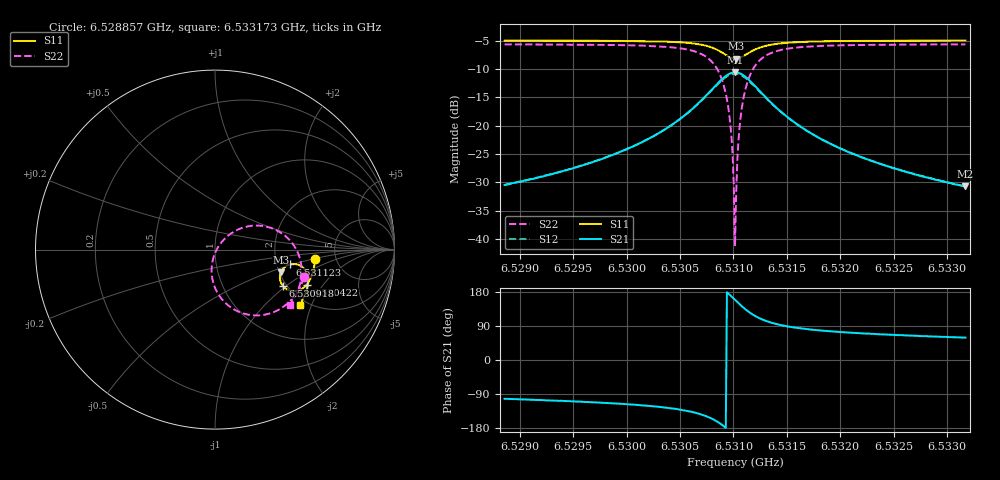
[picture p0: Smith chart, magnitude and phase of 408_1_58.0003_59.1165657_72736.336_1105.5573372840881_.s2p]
#  HZ  S  RI  R  50.00
! Rohde & Schwarz Vector Network Analyzer
! Rohde-Schwarz,ZNB20-2Port,1311601062101988,3.16
! Created: UTC 3/21/2024, 1:08:37 AM
! freq[Hz]  re:S11  im:S11  re:S21  im:S21  re:S12  im:S12  re:S22  im:S22
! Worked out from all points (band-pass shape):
!   401 points, 6.528857 GHz to 6.533173 GHz, reference 50 ohm
!   highest |S21| = -10.61 dB at 6.531015 GHz (marker M1); lowest = -30.7 dB at 6.533173 GHz (marker M2)
!   |S21| within 3 dB of the highest: 6.530801 GHz to 6.531232 GHz (430.9 kHz wide, 0.0066 % of centre)
!   lowest |S11| = -8.2 dB at 6.531026 GHz (marker M3), VSWR 2.27, Z = 102 - j30.3 ohm
!   |S11| at or under -10 dB: nowhere
!   |S22| runs from -41.3 to -5.7 dB; largest |S21 - S12| = 0.011
!   S11 on the Smith chart (normalised r, x): 6.528857 GHz: 3.47, -0.52; 6.530422 GHz: 2.53, -1.41; 6.530918 GHz: 1.91, -0.93; 6.531123 GHz: 2.37, -0.48; 6.533173 GHz: 1.82, -1.65
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6.5288573e9  0.5588 -0.051  -0.00637 -0.0291  -0.00691 -0.0292  0.497 -0.1537
6.5295802e9  0.5492 -0.1106  -0.0153 -0.0416  -0.0162 -0.0414  0.4677 -0.2199
6.5303031e9  0.5218 -0.1808  -0.0475 -0.0717  -0.0495 -0.0704  0.3899 -0.3122
6.5304217e9  0.5117 -0.1948  -0.0615 -0.0802  -0.0637 -0.0785  0.3605 -0.332
6.530767e9  0.4419 -0.2318  -0.1686 -0.0942  -0.1705 -0.0875  0.1592 -0.3563
6.5308533e9  0.4053 -0.2241  -0.2256 -0.0672  -0.2245 -0.0582  0.0635 -0.3022
6.530918e9  0.3766 -0.2004  -0.2678 -0.0169  -0.2627 -0.0075  -0.000758 -0.2108
6.5309612e9  0.364 -0.1738  -0.2836 0.034  -0.2756 0.0416  -0.0193 -0.1237
6.5309828e9  0.3616 -0.1581  -0.2843 0.0627  -0.2753 0.0691  -0.0161 -0.0759
6.5309935e9  0.3619 -0.15  -0.2827 0.0776  -0.2731 0.083  -0.0108 -0.0518
6.5310043e9  0.3628 -0.1419  -0.2795 0.0923  -0.2696 0.0968  -0.00334 -0.0283
6.5310151e9  0.3647 -0.1339  -0.2749 0.1066  -0.2648 0.1102  0.00665 -0.00549
6.5310259e9  0.3675 -0.1261  -0.2688 0.1204  -0.2586 0.1231  0.0186 0.0163
6.5310367e9  0.371 -0.1189  -0.2615 0.1335  -0.2513 0.1353  0.033 0.0367
6.5310583e9  0.3803 -0.1058  -0.2433 0.1569  -0.2338 0.157  0.0662 0.0721
6.5310691e9  0.3858 -0.1  -0.2327 0.1668  -0.2238 0.1662  0.085 0.0869
6.531123e9  0.4175 -0.0825  -0.1749 0.1982  -0.1686 0.1955  0.1857 0.13
6.5311985e9  0.4589 -0.0829  -0.1024 0.2008  -0.0991 0.1981  0.3085 0.1218
6.5313064e9  0.4947 -0.105  -0.0397 0.1714  -0.0381 0.1699  0.4109 0.058
6.531738e9  0.5189 -0.1839  0.0146 0.0827  0.0156 0.0826  0.4827 -0.1284
6.5324609e9  0.499 -0.256  0.0171 0.0397  0.0177 0.0396  0.4554 -0.2446
6.5331729e9  0.4714 -0.3083  0.0149 0.0249  0.0155 0.0247  0.4201 -0.3062
